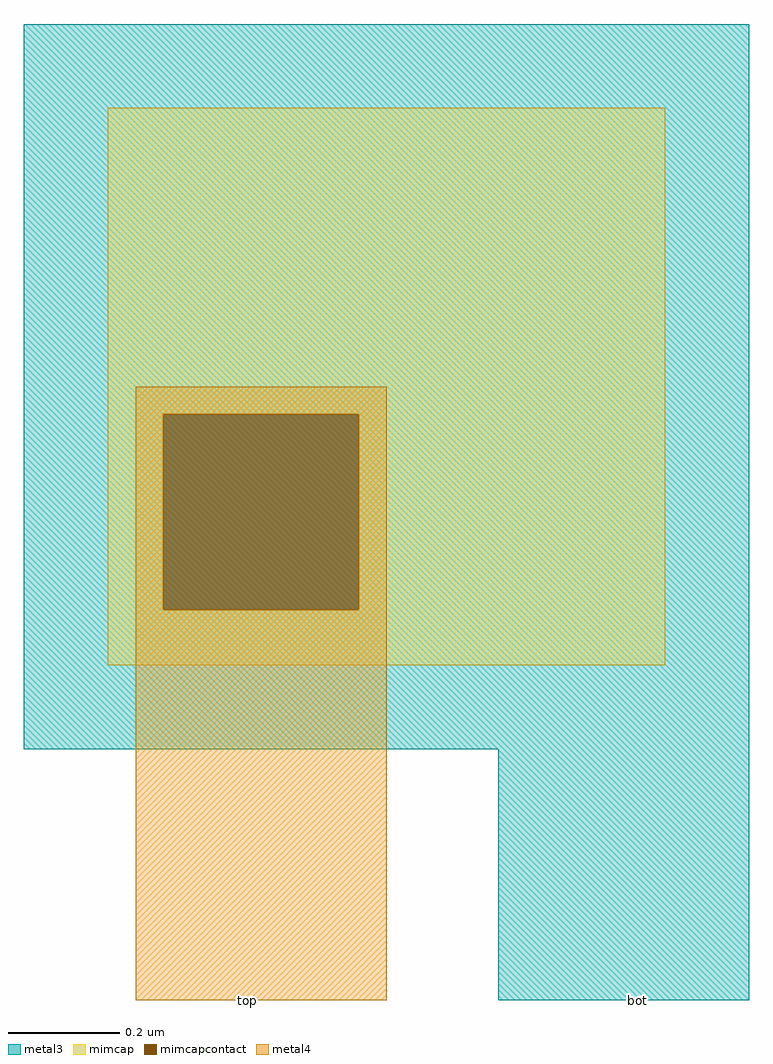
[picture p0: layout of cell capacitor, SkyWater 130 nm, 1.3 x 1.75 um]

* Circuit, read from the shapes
.subckt capacitor bot top
XC1 top bot sky130_fd_pr__cap_mim_m3_1 w=1 l=1
.ends

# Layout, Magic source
magic
tech sky130A
<< metal3 >>
rect -120 -45 10 85
rect -35 -90 10 -45
<< mimcap >>
rect -105 15 -5 70
rect -105 -20 -95 15
rect -60 -20 -5 15
rect -105 -30 -5 -20
<< mimcapcontact >>
rect -95 -20 -60 15
<< metal4 >>
rect -100 15 -55 20
rect -100 -20 -95 15
rect -60 -20 -55 15
rect -100 -90 -55 -20
<< labels >>
rlabel metal4 -80 -90 -80 -90 5 top
rlabel metal3 -10 -90 -10 -90 5 bot
<< end >>
